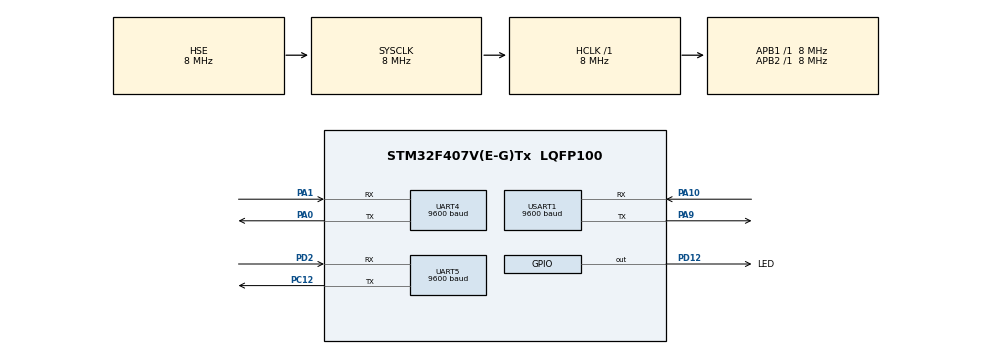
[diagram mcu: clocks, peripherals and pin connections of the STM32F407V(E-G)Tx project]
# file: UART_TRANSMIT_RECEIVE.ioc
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Mcu.Family=STM32F4
Mcu.Name=STM32F407V(E-G)Tx
Mcu.Package=LQFP100
NVIC.PriorityGroup=NVIC_PRIORITYGROUP_0
PA0-WKUP.Mode=Asynchronous
PA0-WKUP.Signal=UART4_TX
PA1.Mode=Asynchronous
PA1.Signal=UART4_RX
PA10.Mode=Asynchronous
PA10.Signal=USART1_RX
PA13.Mode=Serial_Wire
PA13.Signal=SYS_JTMS-SWDIO
PA14.Mode=Serial_Wire
PA14.Signal=SYS_JTCK-SWCLK
PA9.Mode=Asynchronous
PA9.Signal=USART1_TX
PC12.Mode=Asynchronous
PC12.Signal=UART5_TX
PD12.GPIO_Label=LED
PD12.Signal=GPIO_Output
PD2.Mode=Asynchronous
PD2.Signal=UART5_RX
PH0-OSC_IN.Mode=HSE-External-Oscillator
PH0-OSC_IN.Signal=RCC_OSC_IN
PH1-OSC_OUT.Mode=HSE-External-Oscillator
PH1-OSC_OUT.Signal=RCC_OSC_OUT
ProjectManager.HeapSize=0x200
ProjectManager.StackSize=0x400
ProjectManager.TargetToolchain=STM32CubeIDE
RCC.48MHZClocksFreq_Value=48000000
RCC.AHBFreq_Value=8000000
RCC.APB1Freq_Value=8000000
RCC.APB1TimFreq_Value=8000000
RCC.APB2Freq_Value=8000000
RCC.APB2TimFreq_Value=8000000
RCC.CortexFreq_Value=8000000
RCC.HCLKFreq_Value=8000000
RCC.HSE_VALUE=8000000
RCC.HSI_VALUE=16000000
RCC.LSE_VALUE=32768
RCC.PLLM=8
RCC.PLLN=336
RCC.PLLQ=7
RCC.PLLSourceVirtual=RCC_PLLSOURCE_HSE
RCC.SYSCLKFreq_VALUE=8000000
RCC.SYSCLKSource=RCC_SYSCLKSOURCE_HSE
RCC.VCOOutputFreq_Value=336000000
UART4.BaudRate=9600
UART4.VirtualMode=Asynchronous
UART5.BaudRate=9600
UART5.VirtualMode=Asynchronous
USART1.BaudRate=9600
USART1.VirtualMode=VM_ASYNC
board=STM32F407G-DISC1

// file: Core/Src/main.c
/* USER CODE BEGIN Header */
/**
  ******************************************************************************
  * @file           : main.c
  * @brief          : Main program body
  ******************************************************************************
  * @attention
  *
  * Copyright (c) 2023 STMicroelectronics.
  * All rights reserved.
  *
  * This software is licensed under terms that can be found in the LICENSE file
  * in the root directory of this software component.
  * If no LICENSE file comes with this software, it is provided AS-IS.
  *
  ******************************************************************************
  */
/* USER CODE END Header */
#include "main.h"

UART_HandleTypeDef huart4;
UART_HandleTypeDef huart5;
UART_HandleTypeDef huart1;

void SystemClock_Config(void);
static void MX_GPIO_Init(void);
static void MX_UART5_Init(void);
static void MX_UART4_Init(void);
static void MX_USART1_UART_Init(void);

/* USER CODE BEGIN 0 */
char data[50];
char rx_buffer[100];
char rx_buffer2[10];
char* sifre = "_engin";
int j=0;

void sifrele(char* rx_buf , int buffSize)
{
	for(int i=sizeof(rx_buf) ; i<= sizeof(rx_buf)+6 ; i++)
	{
		rx_buf[i] = sifre[j];
		j++;
	}

	return rx_buf;
}

/* USER CODE END 0 */

int main(void)
{

  /* MCU Configuration--------------------------------------------------------*/

  /* Reset of all peripherals, Initializes the Flash interface and the Systick. */
  HAL_Init();

  /* Configure the system clock */
  SystemClock_Config();

  /* Initialize all configured peripherals */
  MX_GPIO_Init();
  MX_UART5_Init();
  MX_UART4_Init();
  MX_USART1_UART_Init();

  /* Infinite loop */
  while (1)
  {

    /* USER CODE BEGIN 3 */
	  /*
	  HAL_GPIO_WritePin(GPIOD, LED_Pin, GPIO_PIN_SET);
	  strcpy(data, "led on\r\n");
	  HAL_UART_Transmit(&huart5, (uint8_t *)data, strlen(data), 1000);
	  HAL_Delay(1000);
	  HAL_GPIO_WritePin(GPIOD, LED_Pin, GPIO_PIN_RESET);
	  strcpy(data, "led off\r\n");
	  HAL_UART_Transmit(&huart5,(uint8_t *)data,strlen(data), 1000);
	  HAL_Delay(1000);
	  */

	  strcpy(data,"sistem_baslatiliyor..\r\n");
	  HAL_UART_Transmit(&huart5, (uint8_t *)data , strlen(data), 1000);
	  HAL_Delay(500);

	  sprintf(data,"sistem_acik_veri_gonderebilirsiniz\r\n");
	  HAL_UART_Transmit(&huart5, (uint8_t *)data, strlen(data), 1000);

	  HAL_UART_Receive(&huart5, (uint8_t *)rx_buffer, sizeof(rx_buffer), HAL_MAX_DELAY);
	  HAL_Delay(500);
	  printf("\n");

	  sprintf(data,"sifrelenecek_veri :");
	  HAL_UART_Transmit(&huart5, (uint8_t *)data, strlen(data), 1000);
	  HAL_UART_Transmit(&huart5, (uint8_t *)rx_buffer, strlen(rx_buffer), 1000);
	  HAL_Delay(500);

	  HAL_UART_Transmit(&huart4, (uint8_t *)rx_buffer, strlen(rx_buffer), 1000);
	  HAL_Delay(500);

	  /*
	  HAL_UART_Receive(&huart4, (uint8_t *)rx_buffer, strlen(rx_buffer), 1000);

	  sprintf(data, "desifre edilecek veri : \r\n ");
	  HAL_UART_Transmit(&huart4, (uint8_t *)data, strlen(data), 1000);
	  HAL_UART_Transmit(&huart4, (uint8_t *)rx_buffer, strlen(rx_buffer), 1000);

	  sprintf(data, "desifreleme_islemi_baslatiliyor : \r\n ");
	  HAL_UART_Transmit(&huart4, (uint8_t *)data , strlen(data), 1000);
	  HAL_Delay(500);

	  sprintf(data,"desifre_edilen_verinin_son_hali : ");
	  HAL_UART_Transmit(&huart5, (uint8_t *)data , strlen(data),1000);
	  HAL_UART_Transmit(&huart5, (uint8_t *)rx_buffer, strlen(rx_buffer), 1000);
	  HAL_Delay(500);
	  */
	 // break;
  }
  /* USER CODE END 3 */
}

void SystemClock_Config(void)
{
  RCC_OscInitTypeDef RCC_OscInitStruct = {0};
  RCC_ClkInitTypeDef RCC_ClkInitStruct = {0};

  /** Configure the main internal regulator output voltage
  */
  __HAL_RCC_PWR_CLK_ENABLE();
  __HAL_PWR_VOLTAGESCALING_CONFIG(PWR_REGULATOR_VOLTAGE_SCALE1);

  /** Initializes the RCC Oscillators according to the specified parameters
  * in the RCC_OscInitTypeDef structure.
  */
  RCC_OscInitStruct.OscillatorType = RCC_OSCILLATORTYPE_HSE;
  RCC_OscInitStruct.HSEState = RCC_HSE_ON;
  RCC_OscInitStruct.PLL.PLLState = RCC_PLL_NONE;
  if (HAL_RCC_OscConfig(&RCC_OscInitStruct) != HAL_OK)
  {
    Error_Handler();
  }

  /** Initializes the CPU, AHB and APB buses clocks
  */
  RCC_ClkInitStruct.ClockType = RCC_CLOCKTYPE_HCLK|RCC_CLOCKTYPE_SYSCLK
                              |RCC_CLOCKTYPE_PCLK1|RCC_CLOCKTYPE_PCLK2;
  RCC_ClkInitStruct.SYSCLKSource = RCC_SYSCLKSOURCE_HSE;
  RCC_ClkInitStruct.AHBCLKDivider = RCC_SYSCLK_DIV1;
  RCC_ClkInitStruct.APB1CLKDivider = RCC_HCLK_DIV1;
  RCC_ClkInitStruct.APB2CLKDivider = RCC_HCLK_DIV1;

  if (HAL_RCC_ClockConfig(&RCC_ClkInitStruct, FLASH_LATENCY_0) != HAL_OK)
  {
    Error_Handler();
  }
}

static void MX_UART4_Init(void)
{

  huart4.Instance = UART4;
  huart4.Init.BaudRate = 9600;
  huart4.Init.WordLength = UART_WORDLENGTH_8B;
  huart4.Init.StopBits = UART_STOPBITS_1;
  huart4.Init.Parity = UART_PARITY_NONE;
  huart4.Init.Mode = UART_MODE_TX_RX;
  huart4.Init.HwFlowCtl = UART_HWCONTROL_NONE;
  huart4.Init.OverSampling = UART_OVERSAMPLING_16;
  if (HAL_UART_Init(&huart4) != HAL_OK)
  {
    Error_Handler();
  }

}

static void MX_UART5_Init(void)
{

  huart5.Instance = UART5;
  huart5.Init.BaudRate = 9600;
  huart5.Init.WordLength = UART_WORDLENGTH_8B;
  huart5.Init.StopBits = UART_STOPBITS_1;
  huart5.Init.Parity = UART_PARITY_NONE;
  huart5.Init.Mode = UART_MODE_TX_RX;
  huart5.Init.HwFlowCtl = UART_HWCONTROL_NONE;
  huart5.Init.OverSampling = UART_OVERSAMPLING_16;
  if (HAL_UART_Init(&huart5) != HAL_OK)
  {
    Error_Handler();
  }

}

static void MX_USART1_UART_Init(void)
{

  huart1.Instance = USART1;
  huart1.Init.BaudRate = 9600;
  huart1.Init.WordLength = UART_WORDLENGTH_8B;
  huart1.Init.StopBits = UART_STOPBITS_1;
  huart1.Init.Parity = UART_PARITY_NONE;
  huart1.Init.Mode = UART_MODE_TX_RX;
  huart1.Init.HwFlowCtl = UART_HWCONTROL_NONE;
  huart1.Init.OverSampling = UART_OVERSAMPLING_16;
  if (HAL_UART_Init(&huart1) != HAL_OK)
  {
    Error_Handler();
  }

}

static void MX_GPIO_Init(void)
{
  GPIO_InitTypeDef GPIO_InitStruct = {0};

  /* GPIO Ports Clock Enable */
  __HAL_RCC_GPIOH_CLK_ENABLE();
  __HAL_RCC_GPIOA_CLK_ENABLE();
  __HAL_RCC_GPIOD_CLK_ENABLE();
  __HAL_RCC_GPIOC_CLK_ENABLE();

  /*Configure GPIO pin Output Level */
  HAL_GPIO_WritePin(LED_GPIO_Port, LED_Pin, GPIO_PIN_RESET);

  /*Configure GPIO pin : LED_Pin */
  GPIO_InitStruct.Pin = LED_Pin;
  GPIO_InitStruct.Mode = GPIO_MODE_OUTPUT_PP;
  GPIO_InitStruct.Pull = GPIO_NOPULL;
  GPIO_InitStruct.Speed = GPIO_SPEED_FREQ_LOW;
  HAL_GPIO_Init(LED_GPIO_Port, &GPIO_InitStruct);

}

void Error_Handler(void)
{
  __disable_irq();
  while (1)
  {
  }
}
